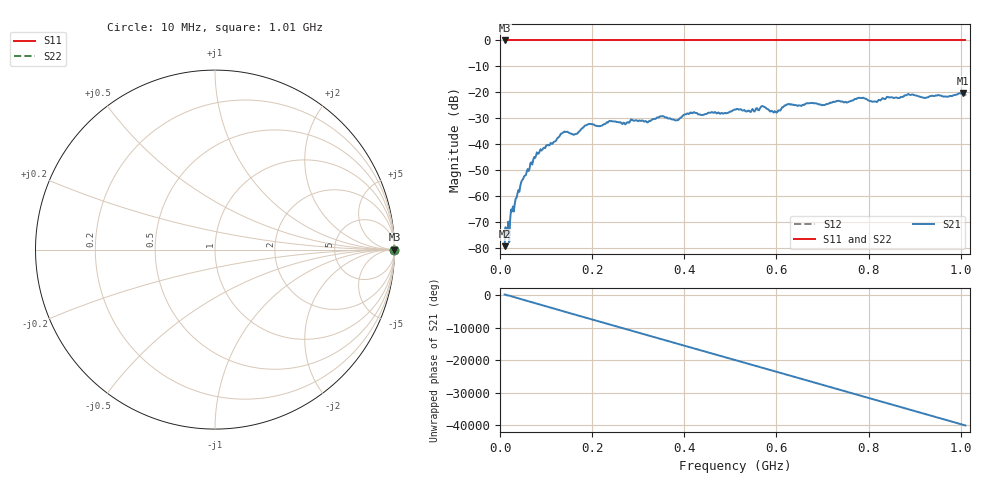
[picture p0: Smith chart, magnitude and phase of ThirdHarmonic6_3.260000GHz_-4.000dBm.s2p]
! 8/17/2025 10:03:22 AM
! C:\ANRITSUVNA\TEMP\TEMP.S2P
! CHANNEL.1
! TR.MEASUREMENT
! RAW.DATA
! RF.CORRECTION.OFF
! AVERAGING.OFF
! IF.BANDWIDTH: 5KHZ
! SWEEPTYPE:  FREQ.SWEEP(Linear)
! Reference Plane Port Info
! PORT:  PORT1  PORT2
! DISTANCE:  0  m  0  m
! TIME:  0  s  0  s
! PHASE.OFFSET:  0  deg.  0  deg.
! LOSS:  0  dB  0  dB
! REF.LOSS:  0  dB  0  dB
! REF.FREQ:  0  Hz  0  Hz
! Power Info
! POWER:  -20  dBm  -20  dBm
! EFF.POWER:  -20  dBm  -20  dBm
! SOURCE.ATTEN:  0  dB  0  dB
! TEST.ATTEN:  0  dB  0  dB
# GHZ S RI R 50.0
! FREQ.GHZ  S11RE  S11IM  S21RE  S21IM  S12RE  S12IM  S22RE  S22IM
!; PortSelection: Port_12
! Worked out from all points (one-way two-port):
!   501 points, 10 MHz to 1.01 GHz, reference 50 ohm
!   highest |S21| = -20.25 dB at 1.004 GHz (marker M1); lowest = -79.2 dB at 10 MHz (marker M2)
!   lowest |S11| = 0.0 dB at 10 MHz (marker M3)
!   |S11| at or under -10 dB: nowhere
!   |S22| runs from 0.0 to 0.0 dB; largest |S21 - S12| = 1.1
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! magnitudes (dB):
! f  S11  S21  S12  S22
! 10 MHz  0.0  -79.2  0.0  0.0
! 18 MHz  0.0  -69.8  0.0  0.0
! 26 MHz  0.0  -65.9  0.0  0.0
! 48 MHz  0.0  -53.8  0.0  0.0
! 76 MHz  0.0  -45.3  0.0  0.0
! 136 MHz  0.0  -35.6  0.0  0.0
! 164 MHz  0.0  -36.1  0.0  0.0
! 178 MHz  0.0  -33.9  0.0  0.0
! 194 MHz  0.0  -32.2  0.0  0.0
! 344 MHz  0.0  -29.7  0.0  0.0
! 384 MHz  0.0  -30.7  0.0  0.0
! 416 MHz  0.0  -27.9  0.0  0.0
! 510 MHz  0.0  -26.6  0.0  0.0
! 570 MHz  0.0  -25.3  0.0  0.0
! 598 MHz  0.0  -27.5  0.0  0.0
! 624 MHz  0.0  -24.6  0.0  0.0
! 678 MHz  0.0  -24.1  0.0  0.0
! 784 MHz  0.0  -22.2  0.0  0.0
! 814 MHz  0.0  -23.5  0.0  0.0
! 844 MHz  0.0  -21.9  0.0  0.0
! 1.004 GHz  0.0  -20.2  0.0  0.0
! 1.01 GHz  0.0  -20.9  0.0  0.0
